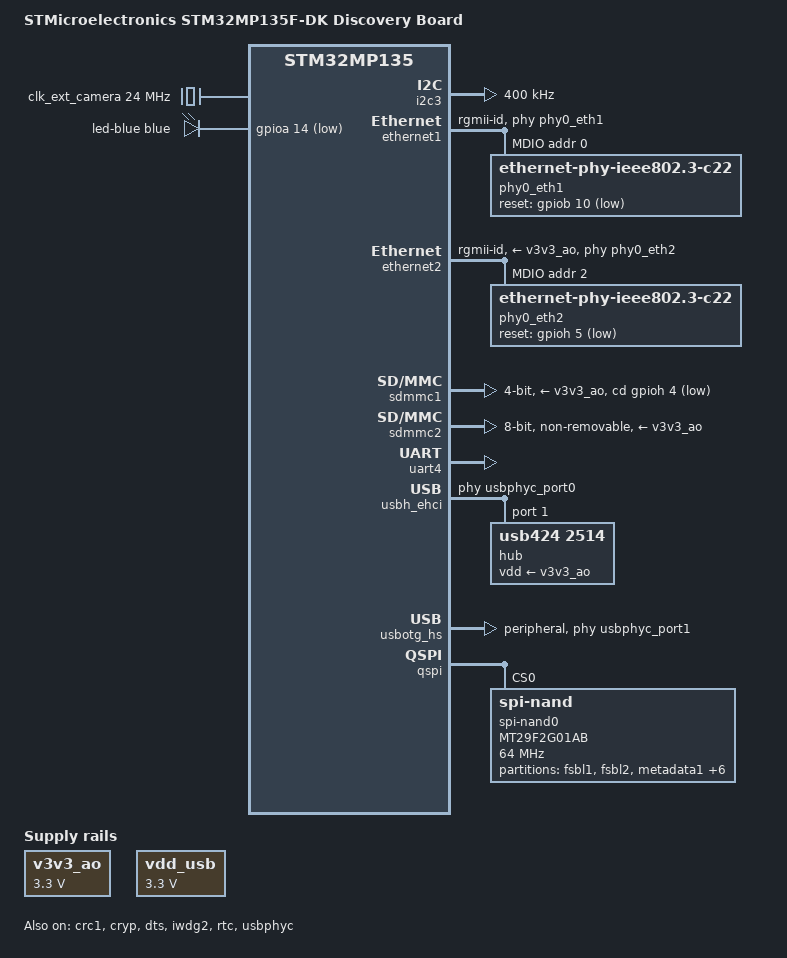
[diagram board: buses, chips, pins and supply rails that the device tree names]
// SPDX-License-Identifier: (GPL-2.0+ OR BSD-3-Clause)
/*
 * Copyright (C) STMicroelectronics 2021 - All Rights Reserved
 * Author: Alexandre Torgue <alexandre.torgue@foss.st.com> for STMicroelectronics.
 */

/dts-v1/;

#include <dt-bindings/gpio/gpio.h>
#include <dt-bindings/input/input.h>
#include <dt-bindings/leds/common.h>
#include <dt-bindings/rtc/rtc-stm32.h>
#include "stm32mp135.dtsi"
#include "stm32mp13xf.dtsi"
#include "myb-stm32mp13-pinctrl.dtsi"

/ {
	model = "STMicroelectronics STM32MP135F-DK Discovery Board";
	compatible = "st,stm32mp135f-dk", "st,stm32mp135";

	aliases {
		ethernet0 = &ethernet1;
		ethernet1 = &ethernet2;
		serial0 = &uart4;
		serial1 = &usart1;
		serial2 = &uart8;
		serial3 = &usart2;
	};

	chosen {
		#address-cells = <1>;
		#size-cells = <1>;
		ranges;
		stdout-path = "serial0:115200n8";

		framebuffer {
			compatible = "simple-framebuffer";
			clocks = <&rcc LTDC_PX>;
			status = "disabled";
		};
	};

	clocks {
		clk_ext_camera: clk-ext-camera {
			#clock-cells = <0>;
			compatible = "fixed-clock";
			clock-frequency = <24000000>;
		};

		clk_mco1: clk-mco1 {
			#clock-cells = <0>;
			compatible = "fixed-clock";
			clock-frequency = <24000000>;
		};
	};

	leds {
		compatible = "gpio-leds";

		led-blue {
			function = LED_FUNCTION_HEARTBEAT;
			color = <LED_COLOR_ID_BLUE>;
			gpios = <&gpioa 14 GPIO_ACTIVE_LOW>;
			linux,default-trigger = "heartbeat";
			default-state = "off";
		};
	};

	v3v3_ao: v3v3_ao {
		compatible = "regulator-fixed";
		regulator-name = "v3v3_ao";
		regulator-min-microvolt = <3300000>;
		regulator-max-microvolt = <3300000>;
		regulator-always-on;
	};

    vdd_usb: vdd_usb {
        compatible = "regulator-fixed";
        regulator-name = "vdd_usb";
        regulator-min-microvolt = <3300000>;
        regulator-max-microvolt = <3300000>;
        regulator-always-on;
    };
};

&crc1 {
	status = "okay";
};

&cryp {
	status = "okay";
};

&dcmipp {
	status = "disabled";
};
/*
&dma1 {
	sram = <&dma_pool>;
};

&dma2 {
	sram = <&dma_pool>;
};
*/
&dts {
	status = "okay";
};

&i2c3 {
        pinctrl-names = "default", "sleep";
        pinctrl-0 = <&i2c3_pins_test_b>;
        pinctrl-1 = <&i2c3_sleep_pins_test_b>;
        i2c-scl-rising-time-ns = <285>;
        i2c-scl-falling-time-ns = <9>;
        clock-frequency = <400000>;
        status = "okay";
        /* spare dmas for other usage */
        /delete-property/dmas;
        /delete-property/dma-names;
};

&ethernet1 {
        status = "okay";
        pinctrl-0 = <&eth1_rgmii_pins_a>;
        pinctrl-1 = <&eth1_rgmii_sleep_pins_a>;
        pinctrl-names = "default", "sleep";
        phy-mode = "rgmii-id";
        max-speed = <1000>;
        phy-handle = <&phy0_eth1>;
        // st,ext-phyclk;
        // st,eth-clk-sel;
	nvmem-cells = <&ethernet_mac1_address>;
        nvmem-cell-names = "mac-address";

        mdio1 {
                #address-cells = <1>;
                #size-cells = <0>;
                compatible = "snps,dwmac-mdio";

                phy0_eth1: ethernet-phy@0 {
                                compatible = "ethernet-phy-ieee802.3-c22";
          			reset-gpios =  <&gpiob 10 GPIO_ACTIVE_LOW>;
                        	reset-assert-us = <1000>;
                        	reset-deassert-us = <30000>;
                                reg = <0>;
				wakeup-source;
                };
        };
};

&ethernet2 {
        status = "okay";
        pinctrl-0 = <&eth2_rgmii_pins_a>;
        pinctrl-1 = <&eth2_rgmii_sleep_pins_a>;

        pinctrl-names = "default", "sleep";
        phy-mode = "rgmii-id";
        max-speed = <1000>;
        phy-handle = <&phy0_eth2>;
        // st,ext-phyclk;
        // st,eth-clk-sel;
        phy-supply = <&v3v3_ao>;
  	nvmem-cells = <&ethernet_mac2_address>;
        nvmem-cell-names = "mac-address";

        mdio1 {
                #address-cells = <1>;
                #size-cells = <0>;
                compatible = "snps,dwmac-mdio";
                phy0_eth2: ethernet-phy@2 {
                                compatible = "ethernet-phy-ieee802.3-c22";
           			reset-gpios = <&gpioh 5 GPIO_ACTIVE_LOW>;
                        	reset-assert-us = <1000>;
                        	reset-deassert-us = <30000>;
                                reg = <2>;
                };
        };
};

&i2c1 {
	pinctrl-names = "default", "sleep";
	pinctrl-0 = <&i2c1_pins_a>;
	pinctrl-1 = <&i2c1_sleep_pins_a>;
	i2c-scl-rising-time-ns = <96>;
	i2c-scl-falling-time-ns = <3>;
	clock-frequency = <1000000>;
	status = "disabled";
	/* spare dmas for other usage */
	/delete-property/dmas;
	/delete-property/dma-names;

};

&i2c5 {
	pinctrl-names = "default", "sleep";
	pinctrl-0 = <&i2c5_pins_a>;
	pinctrl-1 = <&i2c5_sleep_pins_a>;
	i2c-scl-rising-time-ns = <170>;
	i2c-scl-falling-time-ns = <5>;
	clock-frequency = <400000>;
	status = "disabled";
	/* spare dmas for other usage */
	/delete-property/dmas;
	/delete-property/dma-names;
};

&iwdg2 {
	timeout-sec = <32>;
	status = "okay";
};

&ltdc {
	pinctrl-names = "default", "sleep";
	pinctrl-0 = <&ltdc_pins_a>;
	pinctrl-1 = <&ltdc_sleep_pins_a>;
	status = "disabled";
};

&rtc {
	st,lsco = <RTC_OUT2_RMP>;
	pinctrl-0 = <&rtc_out2_rmp_pins_a>;
	pinctrl-names = "default";
	status = "okay";
};
/* TF */
&sdmmc1 {
	pinctrl-names = "default", "opendrain", "sleep";
	pinctrl-0 = <&sdmmc1_b4_pins_a &sdmmc1_clk_pins_a>;
	pinctrl-1 = <&sdmmc1_b4_od_pins_a &sdmmc1_clk_pins_a>;
	pinctrl-2 = <&sdmmc1_b4_sleep_pins_a>;
	cd-gpios = <&gpioh 4 (GPIO_ACTIVE_LOW | GPIO_PULL_UP)>;
	disable-wp;
	st,neg-edge;
	bus-width = <4>;
	vmmc-supply = <&v3v3_ao>;
	status = "okay";
};

/* eMMC */
&sdmmc2 {
	pinctrl-names = "default", "opendrain", "sleep";
	pinctrl-0 = <&sdmmc2_b4_pins_a &sdmmc2_clk_pins_a>;
	pinctrl-1 = <&sdmmc2_b4_od_pins_a &sdmmc2_clk_pins_a>;
	pinctrl-2 = <&sdmmc2_b4_sleep_pins_a>;
	non-removable;
	cap-sdio-irq;
	no-sd;
	no-sdio;
	// st,neg-edge;
	bus-width = <8>;
	vmmc-supply = <&v3v3_ao>;
	vqmmc-supply = <&v3v3_ao>;
	// mmc-pwrseq = <&wifi_pwrseq>;
	#address-cells = <1>;
	#size-cells = <0>;
	status = "okay";
};

&spi5 {
	pinctrl-names = "default", "sleep";
	pinctrl-0 = <&spi5_pins_a>;
	pinctrl-1 = <&spi5_sleep_pins_a>;
	status = "disabled";
};
/*
&sram {
	dma_pool: dma-sram@0 {
		reg = <0x0 0x4000>;
		pool;
	};
};
*/
&timers3 {
	/delete-property/dmas;
	/delete-property/dma-names;
	status = "disabled";
	counter {
		status = "okay";
	};
	pwm {
		pinctrl-0 = <&pwm3_pins_a>;
		pinctrl-1 = <&pwm3_sleep_pins_a>;
		pinctrl-names = "default", "sleep";
		status = "okay";
	};
	timer@2 {
		status = "okay";
	};
};

&timers4 {
	/delete-property/dmas;
	/delete-property/dma-names;
	status = "disabled";
	counter {
		status = "okay";
	};
	pwm {
		pinctrl-0 = <&pwm4_pins_a>;
		pinctrl-1 = <&pwm4_sleep_pins_a>;
		pinctrl-names = "default", "sleep";
		status = "okay";
	};
	timer@3 {
		status = "okay";
	};
};

&timers8 {
	/delete-property/dmas;
	/delete-property/dma-names;
	status = "disabled";
	counter {
		status = "okay";
	};
	pwm {
		pinctrl-0 = <&pwm8_pins_a>;
		pinctrl-1 = <&pwm8_sleep_pins_a>;
		pinctrl-names = "default", "sleep";
		status = "okay";
	};
	timer@7 {
		status = "okay";
	};
};

&timers14 {
	status = "disabled";
	counter {
		status = "okay";
	};
	pwm {
		pinctrl-0 = <&pwm14_pins_a>;
		pinctrl-1 = <&pwm14_sleep_pins_a>;
		pinctrl-names = "default", "sleep";
		status = "okay";
	};
	timer@13 {
		status = "okay";
	};
};

&uart4 {
	pinctrl-names = "default", "sleep", "idle";
	pinctrl-0 = <&uart4_pins_a>;
	pinctrl-1 = <&uart4_sleep_pins_a>;
	pinctrl-2 = <&uart4_idle_pins_a>;
	/delete-property/dmas;
	/delete-property/dma-names;
	status = "okay";
};

&uart8 {
	pinctrl-names = "default", "sleep", "idle";
	// pinctrl-0 = <&uart8_pins_a>;
	// pinctrl-1 = <&uart8_sleep_pins_a>;
	// pinctrl-2 = <&uart8_idle_pins_a>;
	/delete-property/dmas;
	/delete-property/dma-names;
	status = "disabled";
};

&usart1 {
	pinctrl-names = "default", "sleep", "idle";
	// pinctrl-0 = <&usart1_pins_a>;
	// pinctrl-1 = <&usart1_sleep_pins_a>;
	// pinctrl-2 = <&usart1_idle_pins_a>;
	// uart-has-rtscts;
	status = "disabled";
};

&usart2 {
	pinctrl-names = "default", "sleep", "idle";
	// pinctrl-0 = <&usart2_pins_a>;
	// pinctrl-1 = <&usart2_sleep_pins_a>;
	// pinctrl-2 = <&usart2_idle_pins_a>;
	// uart-has-rtscts;
	status = "disabled";
};

&usbh_ehci {
	phys = <&usbphyc_port0>;
	status = "okay";
	#address-cells = <1>;
	#size-cells = <0>;
	/* onboard HUB */
	hub@1 {
		compatible = "usb424,2514";
		reg = <1>;
		vdd-supply = <&v3v3_ao>;
	};
};

&usbotg_hs {
	phys = <&usbphyc_port1 0>;
	phy-names = "usb2-phy";
	u-boot,force-b-session-valid;
	u-boot,force-vbus-detection;
	dr_mode = "peripheral";
	usb-role-switch;
	role-switch-default-mode = "peripheral";
	status = "okay";
};

&usbphyc {
	status = "okay";
};

&usbphyc_port0 {
	phy-supply = <&vdd_usb>;
};

&usbphyc_port1 {
    phy-supply = <&vdd_usb>;
};

&vdd_usb {
        bootph-all;
};

&qspi {
        pinctrl-names = "default", "sleep";
        pinctrl-0 = <&quadspi_pins_mx>;
        pinctrl-1 = <&quadspi_sleep_pins_mx>;
        reg = <0x58003000 0x1000>,
              <0x70000000 0x4000000>;
        #address-cells = <1>;
        #size-cells = <0>;
        status = "okay";
        flash0: MT29F2G01AB@0 {
                compatible = "spi-nand";
                reg = <0>;
                spi-rx-bus-width = <4>;
                spi-tx-bus-width = <4>;
                spi-max-frequency = <64000000>;
                #address-cells = <1>;
                #size-cells = <1>;
		label = "spi-nand0";
                partitions {
                compatible = "fixed-partitions";
                #address-cells = <1>;
                #size-cells = <1>;

                 partition@0 {
                        label = "fsbl1";
                        reg = <0x000000 0x80000>;  // 512k
                };

                partition@1 {
                        label = "fsbl2";
                        reg = <0x80000 0x80000>;  // 512k
                };

                partition@2 {
                        label = "metadata1";
                        reg = <0x100000 0x80000>;  // 512k
                };

                partition@3 {
                        label = "metadata2";
                        reg = <0x180000 0x80000>;  // 512k
                };

                partition@4 {
                        label = "fip-a1";
                        reg = <0x200000 0x400000>;  // 4MB
                };

                partition@5 {
                        label = "fip-a2";
                        reg = <0x600000 0x400000>;  // 4MB
                };
                partition@6 {
                        label = "fip-b1";
                        reg = <0xa00000 0x400000>;  // 4MB
                };

                partition@7 {
                        label = "fip-b2";
                        reg = <0xe00000 0x400000>;  // 4MB
                };

                partition@8 {
                        label = "UBI";
                        reg = <0x1200000 0xEE00000>;  // 剩余空间
                };
           };
        };
};
